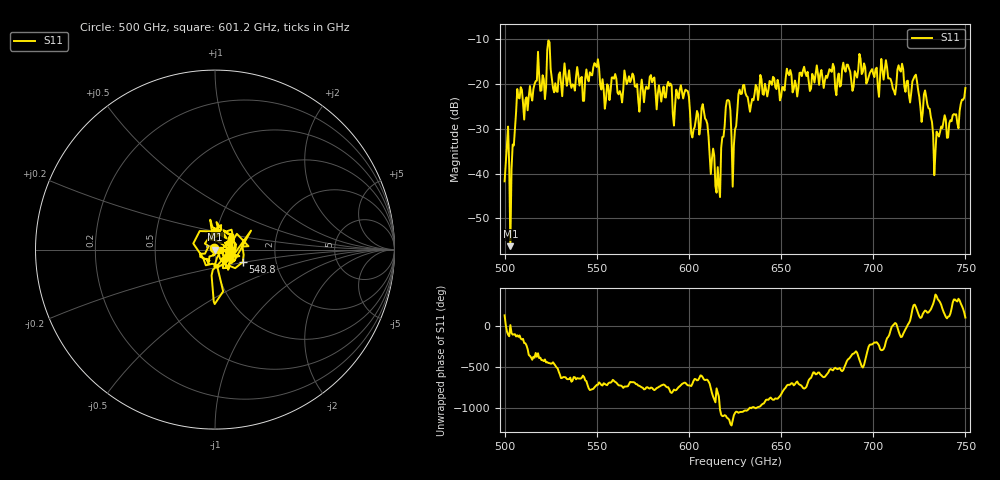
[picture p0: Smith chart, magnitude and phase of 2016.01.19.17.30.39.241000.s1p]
!Created with skrf (http://scikit-rf.org).
# GHz S RI R 50.0
!freq ReS11 ImS11
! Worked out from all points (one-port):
!   401 points, 500 GHz to 750 GHz, reference 50 ohm
!   lowest |S11| = -56.2 dB at 503.1 GHz (marker M1), VSWR 1.00, Z = 50.2 + j0.0241 ohm
!   |S11| at or under -10 dB: start of sweep to end of sweep
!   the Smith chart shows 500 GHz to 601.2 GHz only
!   S11 on the Smith chart (normalised r, x): 500 GHz: 0.99, +0.01; 548.8 GHz: 1.35, -0.19; 601.2 GHz: 1.06, -0.01
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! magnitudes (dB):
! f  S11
! 500 GHz  -41.7
! 503.1 GHz  -56.2
! 508.1 GHz  -23.3
! 521.2 GHz  -19.0
! 524.4 GHz  -10.8
! 527.5 GHz  -19.9
! 531.2 GHz  -22.8
! 541.9 GHz  -18.5
! 548.8 GHz  -15.4
! 562.5 GHz  -21.6
! 568.8 GHz  -19.0
! 593.8 GHz  -22.2
! 598.8 GHz  -21.5
! 601.2 GHz  -31.1
! 608.1 GHz  -26.1
! 615.6 GHz  -38.6
! 621.2 GHz  -23.6
! 625 GHz  -30.2
! 628.8 GHz  -22.2
! 656.2 GHz  -21.9
! 687.5 GHz  -17.3
! 705.6 GHz  -19.1
! 711.2 GHz  -21.6
! 715 GHz  -17.3
! 718.8 GHz  -19.3
! 728.8 GHz  -23.0
! 734.4 GHz  -30.7
! 750 GHz  -20.9
